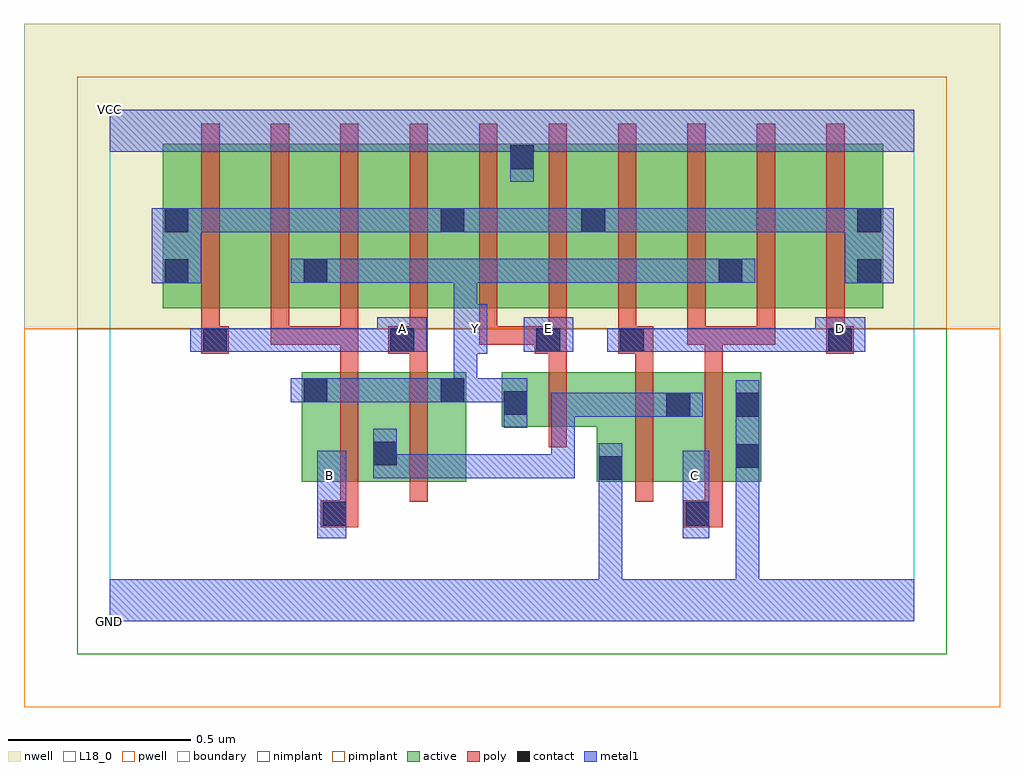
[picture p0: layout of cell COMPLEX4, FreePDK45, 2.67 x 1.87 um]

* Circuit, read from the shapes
.subckt COMPLEX4 A B C D E GND VCC Y
M1 n1 B Y VSUBS nfet w=0.3u l=0.05u
M2 Y A n1 VSUBS nfet w=0.3u l=0.05u
M3 GND E Y VSUBS nfet w=0.15u l=0.05u
M4 n1 D GND VSUBS nfet w=0.3u l=0.05u
M5 GND C n1 VSUBS nfet w=0.3u l=0.05u
M6 n2 A n3 n4 pfet w=0.45u l=0.05u
M7 Y B n2 n4 pfet w=0.45u l=0.05u
M8 n5 B Y n4 pfet w=0.45u l=0.05u
M9 n3 A n5 n4 pfet w=0.45u l=0.05u
M10 VCC E n3 n4 pfet w=0.45u l=0.05u m=2
M11 n6 D n3 n4 pfet w=0.45u l=0.05u
M12 Y C n6 n4 pfet w=0.45u l=0.05u
M13 n7 C Y n4 pfet w=0.45u l=0.05u
M14 n3 D n7 n4 pfet w=0.45u l=0.05u
.ends

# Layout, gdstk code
import gdstk
lib = gdstk.Library(unit=1e-6, precision=1e-09)
def R(c, l, rs):  # rectangles x0, y0, x1, y1
    for r in rs: c.add(gdstk.rectangle(r[:2], r[2:], *l))
def A(c, l, x, y, w, h, nx, ny, dx, dy):  # array of equal rectangles
    R(c, l, [(x+i*dx, y+j*dy, x+i*dx+w, y+j*dy+h) for i in range(nx) for j in range(ny)])
active = (1, 0)
pwell = (2, 0)
nwell = (3, 0)
nimplant = (4, 0)
pimplant = (5, 0)
poly = (9, 0)
contact = (10, 0)
metal1 = (11, 0)
L18_0 = (18, 0)
boundary = (235, 0)

complex4 = lib.new_cell('COMPLEX4')
R(complex4, active, [(0.525,0.382,0.6,0.682), (0.525,0.382,0.79,0.682), (0.715,0.382,0.975,0.682), (0.715,0.382,0.79,0.547), (1.332,0.382,1.592,0.682), (1.332,0.382,1.407,0.575), (1.517,0.382,1.592,0.682), (1.517,0.382,1.782,0.682), (1.707,0.382,1.782,0.682), (0.9,0.385,0.975,0.682), (1.072,0.532,1.407,0.682), (1.072,0.532,1.147,0.682), (0.145,0.857,0.37,1.307), (0.145,0.857,0.25,1.2), (0.37,0.857,0.6,1.307), (0.525,0.857,0.75,1.307), (0.525,0.857,0.6,1.07), (0.75,0.857,0.975,1.307), (0.9,0.857,0.975,1.2), (0.9,0.857,1.165,1.307), (1.09,0.857,1.36,1.307), (1.09,0.857,1.165,1.307), (1.285,0.857,1.36,1.2), (1.285,0.857,1.51,1.307), (1.51,0.857,1.735,1.307), (1.66,0.857,1.89,1.307), (1.66,0.857,1.735,1.07), (1.89,0.857,2.115,1.307), (2.04,0.857,2.115,1.2)])
R(complex4, pwell, [(-0.235,-0.235,2.435,0.8)])
R(complex4, nwell, [(-0.235,0.8,2.435,1.635)])
R(complex4, nimplant, [(-0.09,-0.09,2.29,0.8)])
R(complex4, pimplant, [(-0.09,0.8,2.29,1.49)])
A(complex4, poly, 0.25, 0.757, 0.05, 0.095, 10, 1, 0.19, 0)
A(complex4, poly, 0.25, 0.802, 0.05, 0.56, 10, 1, 0.19, 0)
R(complex4, poly, [(0.577,0.257,0.68,0.332), (1.57,0.257,1.677,0.332), (0.63,0.282,0.68,0.377), (1.627,0.282,1.677,0.377), (0.63,0.327,0.68,0.737), (0.82,0.327,0.87,0.737), (1.437,0.327,1.487,0.737), (1.627,0.327,1.677,0.737), (1.2,0.477,1.25,0.737), (0.63,0.687,0.68,0.807), (0.82,0.687,0.87,0.782), (1.2,0.687,1.25,0.782), (1.437,0.687,1.487,0.782), (1.627,0.687,1.677,0.807), (0.25,0.732,0.325,0.807), (0.762,0.732,0.87,0.807), (1.162,0.732,1.25,0.807), (1.39,0.732,1.487,0.807), (1.96,0.732,2.035,0.807), (0.44,0.757,0.49,0.807), (0.44,0.757,0.68,0.807), (0.63,0.757,0.68,0.807), (0.63,0.757,0.68,0.807), (0.63,0.757,0.68,0.807), (1.01,0.757,1.06,0.807), (1.01,0.757,1.212,0.807), (1.162,0.757,1.212,0.807), (1.162,0.757,1.212,0.807), (1.58,0.757,1.677,0.807), (1.627,0.757,1.82,0.807), (1.77,0.757,1.82,0.807), (1.77,0.757,1.82,0.807), (1.77,0.757,1.82,0.807)])
R(complex4, contact, [(0.582,0.262,0.647,0.327), (1.575,0.262,1.64,0.327), (1.337,0.387,1.402,0.452), (1.712,0.42,1.777,0.485), (0.72,0.427,0.785,0.492), (1.522,0.56,1.587,0.625), (1.712,0.56,1.777,0.625), (1.077,0.565,1.142,0.63), (0.53,0.6,0.595,0.665), (0.905,0.6,0.97,0.665), (0.255,0.737,0.32,0.802), (0.767,0.737,0.832,0.802), (1.167,0.737,1.232,0.802), (1.395,0.737,1.46,0.802), (1.965,0.737,2.03,0.802), (0.15,0.925,0.215,0.99), (2.045,0.925,2.11,0.99), (0.53,0.927,0.595,0.992), (1.665,0.927,1.73,0.992), (0.15,1.065,0.215,1.13), (0.905,1.065,0.97,1.13), (1.29,1.065,1.355,1.13), (2.045,1.065,2.11,1.13), (1.095,1.237,1.16,1.302)])
R(complex4, metal1, [(0,0,2.2,0.115), (1.337,0.05,1.402,0.115), (1.337,0.05,1.402,0.115), (1.337,0.05,1.402,0.115), (1.337,0.05,1.402,0.115), (1.337,0.05,1.402,0.115), (1.337,0.05,1.402,0.115), (1.337,0.05,1.402,0.417), (1.712,0.05,1.777,0.115), (1.712,0.05,1.777,0.115), (1.712,0.05,1.777,0.115), (1.712,0.05,1.777,0.115), (1.712,0.05,1.777,0.115), (1.712,0.05,1.777,0.115), (1.712,0.05,1.777,0.45), (0.567,0.227,0.647,0.467), (1.567,0.227,1.64,0.467), (1.337,0.352,1.402,0.487), (1.712,0.385,1.777,0.66), (0.72,0.392,0.785,0.457), (0.72,0.392,0.785,0.457), (0.72,0.392,0.785,0.527), (0.72,0.392,1.005,0.457), (0.94,0.392,1.005,0.457), (0.94,0.392,1.005,0.457), (0.94,0.392,1.005,0.457), (0.94,0.392,1.182,0.457), (1.117,0.392,1.182,0.457), (1.117,0.392,1.272,0.457), (1.207,0.392,1.272,0.625), (1.077,0.53,1.142,0.665), (1.207,0.56,1.32,0.625), (1.255,0.56,1.32,0.625), (1.255,0.56,1.32,0.625), (1.255,0.56,1.32,0.625), (1.255,0.56,1.495,0.625), (1.43,0.56,1.495,0.625), (1.43,0.56,1.552,0.625), (1.487,0.56,1.622,0.625), (0.495,0.6,0.63,0.665), (0.565,0.6,0.63,0.665), (0.565,0.6,0.63,0.665), (0.565,0.6,0.797,0.665), (0.732,0.6,0.797,0.665), (0.732,0.6,0.797,0.665), (0.732,0.6,0.797,0.665), (0.732,0.6,0.935,0.665), (0.87,0.6,1.005,0.665), (0.94,0.6,1.005,0.665), (0.94,0.6,1.005,0.665), (0.94,0.6,1.142,0.665), (0.94,0.6,1.005,0.797), (0.94,0.732,1.032,0.867), (0.22,0.737,0.355,0.802), (0.29,0.737,0.422,0.802), (0.357,0.737,0.422,0.802), (0.357,0.737,0.492,0.802), (0.427,0.737,0.492,0.802), (0.427,0.737,0.63,0.802), (0.565,0.737,0.63,0.802), (0.565,0.737,0.63,0.802), (0.565,0.737,0.63,0.802), (0.565,0.737,0.797,0.802), (0.732,0.737,0.797,0.802), (0.732,0.737,0.797,0.802), (0.732,0.737,0.867,0.832), (1.132,0.737,1.267,0.832), (1.36,0.737,1.495,0.802), (1.43,0.737,1.557,0.802), (1.492,0.737,1.557,0.802), (1.492,0.737,1.72,0.802), (1.655,0.737,1.72,0.802), (1.655,0.737,1.72,0.802), (1.655,0.737,1.72,0.802), (1.655,0.737,1.857,0.802), (1.792,0.737,1.857,0.802), (1.792,0.737,1.857,0.802), (1.792,0.737,1.857,0.802), (1.792,0.737,1.995,0.802), (1.93,0.737,2.067,0.832), (0.94,0.802,1.005,0.992), (0.115,0.925,0.25,1.13), (2.01,0.925,2.145,1.13), (0.495,0.927,0.63,0.992), (0.565,0.927,0.63,0.992), (0.565,0.927,0.63,0.992), (0.565,0.927,0.785,0.992), (0.72,0.927,0.785,0.992), (0.72,0.927,0.785,0.992), (0.72,0.927,0.785,0.992), (0.72,0.927,1.005,0.992), (0.94,0.927,1.005,0.992), (0.94,0.927,1.005,0.992), (0.94,0.927,1.005,0.992), (0.94,0.927,1.17,0.992), (1.105,0.927,1.17,0.992), (1.105,0.927,1.17,0.992), (1.105,0.927,1.17,0.992), (1.105,0.927,1.415,0.992), (1.35,0.927,1.415,0.992), (1.35,0.927,1.415,0.992), (1.35,0.927,1.415,0.992), (1.35,0.927,1.557,0.992), (1.492,0.927,1.557,0.992), (1.492,0.927,1.695,0.992), (1.63,0.927,1.695,0.992), (1.63,0.927,1.695,0.992), (1.63,0.927,1.765,0.992), (0.185,1.065,0.25,1.13), (0.185,1.065,0.25,1.13), (0.185,1.065,0.422,1.13), (0.357,1.065,0.422,1.13), (0.357,1.065,0.422,1.13), (0.357,1.065,0.422,1.13), (0.357,1.065,0.492,1.13), (0.427,1.065,0.492,1.13), (0.427,1.065,0.647,1.13), (0.582,1.065,0.647,1.13), (0.582,1.065,0.647,1.13), (0.582,1.065,0.647,1.13), (0.582,1.065,0.785,1.13), (0.72,1.065,0.785,1.13), (0.72,1.065,0.785,1.13), (0.72,1.065,0.785,1.13), (0.72,1.065,0.935,1.13), (0.87,1.065,1.005,1.13), (0.94,1.065,1.005,1.13), (0.94,1.065,1.005,1.13), (0.94,1.065,1.182,1.13), (1.117,1.065,1.182,1.13), (1.117,1.065,1.182,1.13), (1.117,1.065,1.182,1.13), (1.117,1.065,1.32,1.13), (1.255,1.065,1.39,1.13), (1.325,1.065,1.41,1.13), (1.345,1.065,1.41,1.13), (1.345,1.065,1.552,1.13), (1.487,1.065,1.552,1.13), (1.487,1.065,1.695,1.13), (1.63,1.065,1.695,1.13), (1.63,1.065,1.695,1.13), (1.63,1.065,1.695,1.13), (1.63,1.065,1.857,1.13), (1.792,1.065,1.857,1.13), (1.792,1.065,1.937,1.13), (1.872,1.065,1.937,1.13), (1.872,1.065,1.937,1.13), (1.872,1.065,1.937,1.13), (1.872,1.065,2.075,1.13), (2.01,1.065,2.075,1.13), (2.01,1.065,2.075,1.13), (1.095,1.202,1.16,1.337), (1.095,1.272,1.16,1.35), (0,1.285,2.2,1.4)])
A(complex4, L18_0, 0.767, 0.767, 0.065, 0.065, 3, 1, 0.2, 0)
R(complex4, L18_0, [(0,0,2.2,0.115), (1.337,0.05,1.402,0.115), (1.337,0.05,1.402,0.115), (1.337,0.05,1.402,0.115), (1.337,0.05,1.402,0.115), (1.337,0.05,1.402,0.115), (1.337,0.05,1.402,0.115), (1.337,0.05,1.402,0.417), (1.712,0.05,1.777,0.115), (1.712,0.05,1.777,0.115), (1.712,0.05,1.777,0.115), (1.712,0.05,1.777,0.115), (1.712,0.05,1.777,0.115), (1.712,0.05,1.777,0.115), (1.712,0.05,1.777,0.45), (0.567,0.227,0.647,0.467), (1.567,0.227,1.64,0.467), (1.337,0.352,1.402,0.487), (0.567,0.367,0.632,0.432), (1.567,0.367,1.632,0.432), (1.712,0.385,1.777,0.66), (1.077,0.53,1.142,0.665), (0.495,0.6,0.63,0.665), (0.565,0.6,0.63,0.665), (0.565,0.6,0.63,0.665), (0.565,0.6,0.797,0.665), (0.732,0.6,0.797,0.665), (0.732,0.6,0.797,0.665), (0.732,0.6,0.797,0.665), (0.732,0.6,0.935,0.665), (0.87,0.6,1.005,0.665), (0.94,0.6,1.005,0.665), (0.94,0.6,1.005,0.665), (0.94,0.6,1.005,0.797), (0.94,0.6,1.142,0.665), (0.94,0.732,1.032,0.867), (0.22,0.737,0.355,0.802), (0.29,0.737,0.422,0.802), (0.357,0.737,0.492,0.802), (0.357,0.737,0.422,0.802), (0.427,0.737,0.492,0.802), (0.427,0.737,0.63,0.802), (0.565,0.737,0.63,0.802), (0.565,0.737,0.63,0.802), (0.565,0.737,0.63,0.802), (0.565,0.737,0.797,0.802), (0.732,0.737,0.797,0.802), (0.732,0.737,0.797,0.802), (0.732,0.737,0.867,0.832), (1.132,0.737,1.267,0.832), (1.36,0.737,1.495,0.802), (1.43,0.737,1.557,0.802), (1.492,0.737,1.557,0.802), (1.492,0.737,1.72,0.802), (1.655,0.737,1.72,0.802), (1.655,0.737,1.72,0.802), (1.655,0.737,1.72,0.802), (1.655,0.737,1.857,0.802), (1.792,0.737,1.857,0.802), (1.792,0.737,1.857,0.802), (1.792,0.737,1.857,0.802), (1.792,0.737,1.995,0.802), (1.93,0.737,2.067,0.832), (1.967,0.767,2.032,0.832), (0.94,0.802,1.005,0.992), (0.495,0.927,0.63,0.992), (0.565,0.927,0.63,0.992), (0.565,0.927,0.63,0.992), (0.565,0.927,0.785,0.992), (0.72,0.927,0.785,0.992), (0.72,0.927,0.785,0.992), (0.72,0.927,0.785,0.992), (0.72,0.927,1.005,0.992), (0.94,0.927,1.005,0.992), (0.94,0.927,1.005,0.992), (0.94,0.927,1.005,0.992), (0.94,0.927,1.17,0.992), (1.105,0.927,1.17,0.992), (1.105,0.927,1.17,0.992), (1.105,0.927,1.17,0.992), (1.105,0.927,1.415,0.992), (1.35,0.927,1.415,0.992), (1.35,0.927,1.415,0.992), (1.35,0.927,1.415,0.992), (1.35,0.927,1.557,0.992), (1.492,0.927,1.557,0.992), (1.492,0.927,1.695,0.992), (1.63,0.927,1.765,0.992), (1.63,0.927,1.695,0.992), (1.63,0.927,1.695,0.992), (1.095,1.202,1.16,1.337), (1.095,1.272,1.16,1.35), (0,1.285,2.2,1.4)])
R(complex4, boundary, [(0,0,2.2,1.4)])
complex4.add(gdstk.Label('A', (0.8,0.8), layer=11, texttype=0))
complex4.add(gdstk.Label('B', (0.6,0.4), layer=11, texttype=0))
complex4.add(gdstk.Label('C', (1.6,0.4), layer=11, texttype=0))
complex4.add(gdstk.Label('D', (2,0.8), layer=11, texttype=0))
complex4.add(gdstk.Label('E', (1.2,0.8), layer=11, texttype=0))
complex4.add(gdstk.Label('Y', (1,0.8), layer=11, texttype=0))
complex4.add(gdstk.Label('VCC', (0,1.4), layer=11, texttype=0))
complex4.add(gdstk.Label('GND', (0,0), layer=11, texttype=0))

lib.write_gds('COMPLEX4.gds')
